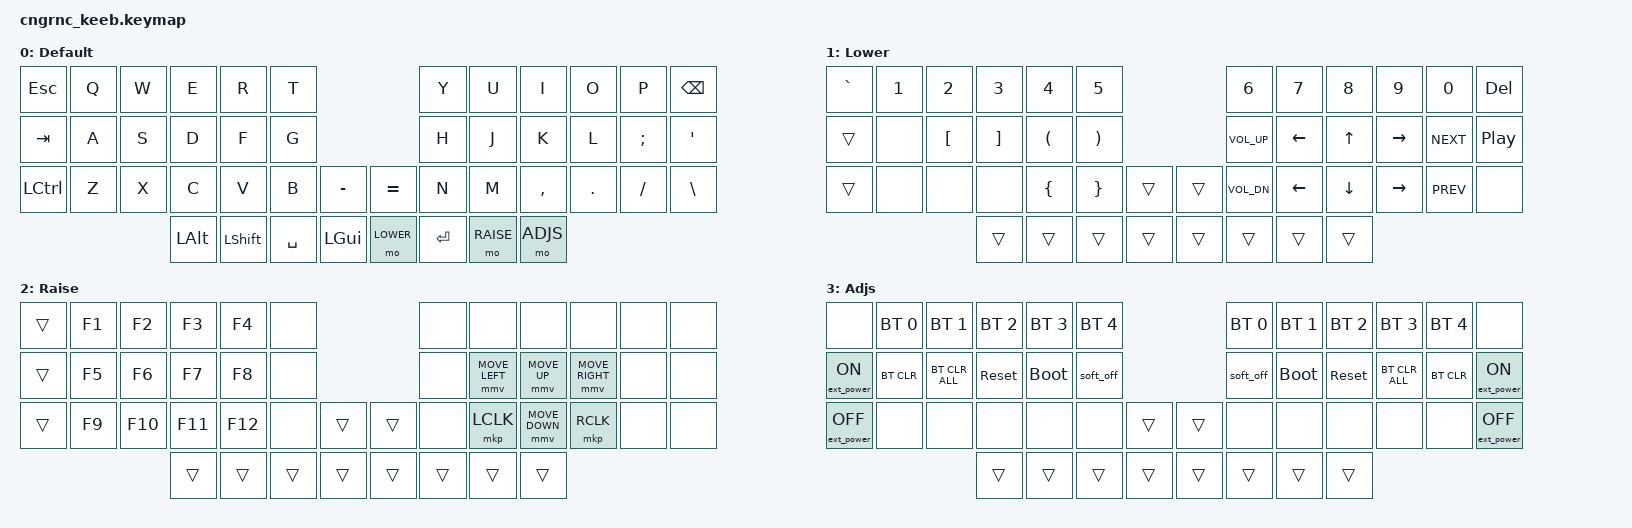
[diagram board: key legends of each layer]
/*
 * Copyright (c) 2020 The ZMK Contributors
 *
 * SPDX-License-Identifier: MIT
 */

#include <behaviors.dtsi>
#include <dt-bindings/zmk/keys.h>
#include <dt-bindings/zmk/bt.h>
#include <dt-bindings/zmk/ext_power.h>
#include <dt-bindings/zmk/pointing.h>

// defines readable layer index
#define DEFAULT 0
#define LOWER   1
#define RAISE   2
#define ADJS    3

/ {
        
        chosen {
			zmk,kscan = &kscan0;
			zmk,matrix_transform = &default_transform;
		};




        keymap {
                compatible = "zmk,keymap";

                default_layer { 
                  bindings = <
        &kp ESC        &kp Q    &kp W    &kp E    &kp R     &kp T                                 &kp Y    &kp U      &kp I     &kp O     &kp P     &kp BKSP
        &kp TAB        &kp A    &kp S    &kp D    &kp F     &kp G                                 &kp H    &kp J      &kp K     &kp L     &kp SEMI  &kp SQT
        &kp LCTL       &kp Z    &kp X    &kp C    &kp V     &kp B      &kp MINUS    &kp EQUAL     &kp N    &kp M      &kp COMMA &kp DOT   &kp FSLH  &kp BSLH
                                       &kp LALT   &kp LSHFT &kp SPACE  &kp LGUI     &mo LOWER     &kp RET     &mo RAISE  &mo ADJS
                            >;

                  label = "Default";
                };


                lower_layer {

                  bindings = <
          &kp GRAVE     &kp NUM_1    &kp NUM_2    &kp NUM_3   &kp NUM_4   &kp NUM_5                      &kp NUM_6     &kp NUM_7   &kp NUM_8  &kp NUM_9  &kp NUM_0   &kp DEL
          &trans        &none        &kp LBKT     &kp RBKT    &kp LPAR    &kp RPAR                       &kp C_VOL_UP  &kp LEFT    &kp UP     &kp RIGHT  &kp C_NEXT  &kp C_PP
          &trans        &none        &none        &none       &kp LBRC    &kp RBRC   &trans      &trans  &kp C_VOL_DN  &kp LEFT    &kp DOWN   &kp RIGHT  &kp C_PREV  &none
                                                  &trans      &trans      &trans     &trans      &trans  &trans        &trans      &trans
                            >;

                  label = "Lower";
                };



                raise_layer {

                        bindings = <
        &trans    &kp F1   &kp F2  &kp F3   &kp F4  &none                          &none  &none           &none           &none           &none &none
        &trans    &kp F5   &kp F6  &kp F7   &kp F8  &none                          &none  &mmv MOVE_LEFT  &mmv MOVE_UP    &mmv MOVE_RIGHT &none &none
        &trans    &kp F9   &kp F10 &kp F11  &kp F12 &none   &trans        &trans   &none  &mkp LCLK       &mmv MOVE_DOWN  &mkp RCLK       &none &none
                                   &trans   &trans  &trans  &trans        &trans   &trans &trans          &trans
                        >;

                        label = "Raise";
                };


                adjust_layer {

                        bindings = <
    &none               &bt BT_SEL 0  &bt BT_SEL 1   &bt BT_SEL 2  &bt BT_SEL 3  &bt BT_SEL 4                          &bt BT_SEL 0  &bt BT_SEL 1  &bt BT_SEL 2  &bt BT_SEL 3   &bt BT_SEL 4  &none
    &ext_power EP_ON    &bt BT_CLR    &bt BT_CLR_ALL &sys_reset    &bootloader   &soft_off                             &soft_off     &bootloader   &sys_reset    &bt BT_CLR_ALL &bt BT_CLR    &ext_power EP_ON
    &ext_power EP_OFF   &none         &none          &none         &none         &none         &trans    &trans        &none         &none         &none         &none          &none         &ext_power EP_OFF
                                                     &trans        &trans        &trans        &trans    &trans        &trans        &trans        &trans
                        >;
                        label = "Adjs";
                };
        };
};
